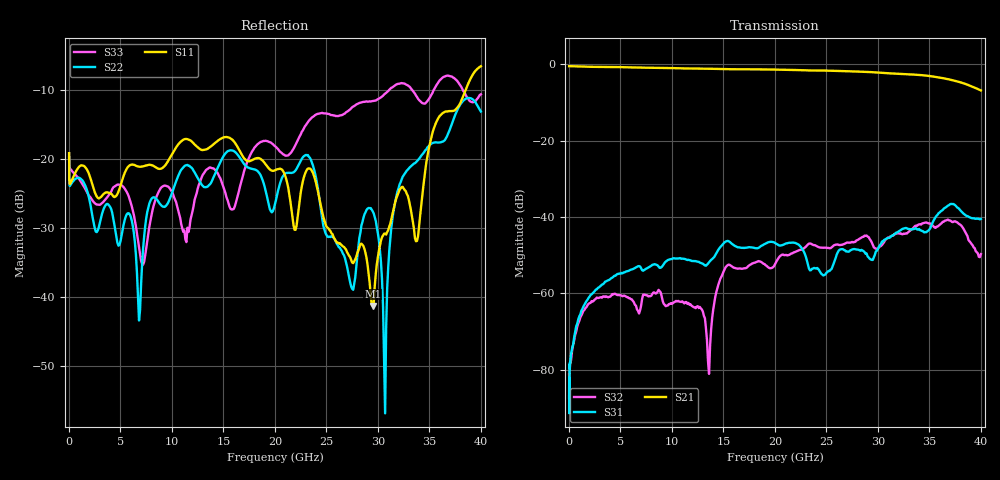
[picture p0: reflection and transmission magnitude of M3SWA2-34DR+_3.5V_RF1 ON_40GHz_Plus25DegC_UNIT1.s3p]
!Keysight Technologies,N5247B,MY61255066,A.15.50.07
!Date: Tuesday, August 29, 2023 14:14:51
!Correction: S11(C  3-Port  )
!S12(C  3-Port  )
!S13(C  3-Port  )
!S21(C  3-Port  )
!S22(C  3-Port  )
!S23(C  3-Port  )
!S31(C  3-Port  )
!S32(C  3-Port  )
!S33(C  3-Port  )
!S3P File: Measurements: <S11,S12,S13>,
!<S21,S22,S23>,
!<S31,S32,S33>:
!Deduct Board Loss
# Hz S  dB  R 50
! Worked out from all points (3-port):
!   409 points, 10 MHz to 40 GHz, reference 50 ohm
!   strongest paths, dB at 10 MHz, 9.4 GHz, 19.6 GHz, 29.8 GHz, 40 GHz:
!     S21: -0.5, -1.0, -1.4, -2.2, -6.9
!     S31: -87.4, -51.7, -46.5, -49.0, -40.5
!     S32: -81.1, -63.3, -53.4, -48.2, -49.7
!   lowest |S11| = -41.3 dB at 29.5 GHz (marker M1), VSWR 1.02, Z = 50.6 - j0.655 ohm
!   |S11| at or under -10 dB: start of sweep to 38.53 GHz
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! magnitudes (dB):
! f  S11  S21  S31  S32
! 10 MHz  -19.2  -0.5  -87.4  -81.1
! 2 GHz  -22.5  -0.7  -60.8  -62.5
! 6.8 GHz  -21.1  -0.9  -52.8  -65.2
! 13.6 GHz  -18.4  -1.2  -51.8  -81.0
! 15.3 GHz  -16.8  -1.3  -46.3  -52.9
! 20.1 GHz  -21.6  -1.4  -46.9  -51.9
! 29.5 GHz  -41.3  -2.1  -51.2  -47.2
! 30.7 GHz  -30.8  -2.3  -45.9  -46.0
! 32.3 GHz  -24.1  -2.6  -43.2  -44.5
! 40 GHz  -6.6  -6.9  -40.5  -49.7
